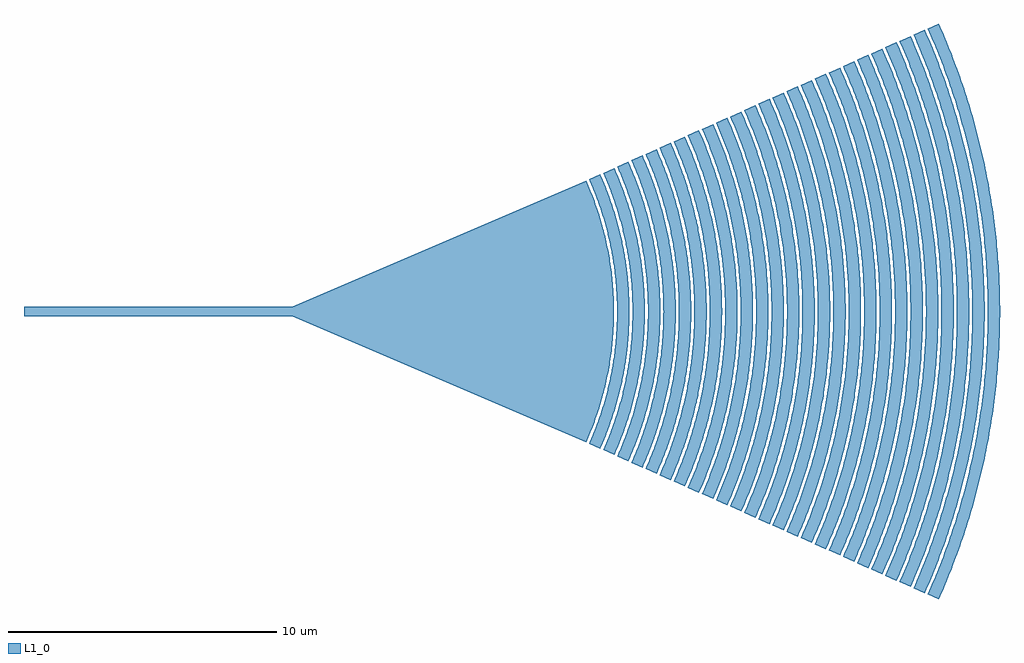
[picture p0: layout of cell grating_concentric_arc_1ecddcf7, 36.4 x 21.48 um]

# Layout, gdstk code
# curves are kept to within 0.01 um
import gdstk
lib = gdstk.Library(unit=1e-6, precision=2e-09)
def R(c, l, rs):  # rectangles x0, y0, x1, y1
    for r in rs: c.add(gdstk.rectangle(r[:2], r[2:], *l))
def P(c, l, *ps):  # polygons
    for p in ps: c.add(gdstk.Polygon(p, *l))
L1_0 = (1, 0)

straight_3aa2beef = lib.new_cell('straight_3aa2beef')
R(straight_3aa2beef, L1_0, [(0,-0.174,10,0.174)])

ring_0e3df5d4_transform_ = lib.new_cell('ring_0e3df5d4_transform_c7663540')
P(ring_0e3df5d4_transform_, L1_0, [(11.074,-4.93),(11.342,-4.278),(11.484,-3.88),(11.652,-3.342),(11.794,-2.796),(11.912,-2.244),(12.004,-1.686),(12.076,-1.056),(12.112,-0.494),(12.12,0.212),(12.082,0.986),(12.004,1.686),(11.912,2.244),(11.762,2.932),(11.592,3.544),(11.342,4.278),(11.074,4.93),(11.488,5.116),(11.818,4.302),(12.048,3.606),(12.22,2.972),(12.372,2.256),(12.474,1.606),(12.546,0.878),(12.576,0.146),(12.566,-0.512),(12.5,-1.388),(12.372,-2.256),(12.184,-3.114),(11.938,-3.956),(11.688,-4.644),(11.488,-5.116)])

ring_3096addb_transform_ = lib.new_cell('ring_3096addb_transform_8336e9fa')
P(ring_3096addb_transform_, L1_0, [(11.6,-5.164),(11.828,-4.62),(12.03,-4.064),(12.206,-3.5),(12.372,-2.856),(12.492,-2.278),(12.594,-1.62),(12.656,-1.034),(12.69,-0.444),(12.696,0.222),(12.656,1.034),(12.564,1.84),(12.45,2.496),(12.284,3.214),(12.076,3.924),(11.828,4.62),(11.6,5.164),(12.014,5.35),(12.306,4.642),(12.532,3.992),(12.762,3.182),(12.91,2.51),(13.024,1.83),(13.12,0.918),(13.152,0.076),(13.138,-0.612),(13.054,-1.602),(12.896,-2.584),(12.664,-3.552),(12.436,-4.282),(12.166,-4.998),(12.014,-5.35)])

ring_af717f17_transform_ = lib.new_cell('ring_af717f17_transform_52422061')
P(ring_af717f17_transform_, L1_0, [(12.126,-5.398),(12.336,-4.9),(12.55,-4.322),(12.738,-3.732),(12.916,-3.06),(13.03,-2.532),(13.144,-1.848),(13.23,-1.08),(13.266,-0.464),(13.272,0.232),(13.23,1.08),(13.144,1.848),(13.03,2.532),(12.86,3.286),(12.648,4.028),(12.392,4.756),(12.126,5.398),(12.54,5.584),(12.788,4.994),(13.056,4.242),(13.26,3.554),(13.476,2.62),(13.606,1.832),(13.676,1.196),(13.72,0.48),(13.72,-0.48),(13.644,-1.514),(13.52,-2.384),(13.34,-3.244),(13.056,-4.242),(12.788,-4.994),(12.54,-5.584)])

ring_c30ad2dc_transform_ = lib.new_cell('ring_c30ad2dc_transform_f7c03e48')
P(ring_c30ad2dc_transform_, L1_0, [(12.652,-5.632),(12.93,-4.964),(13.172,-4.28),(13.378,-3.584),(13.494,-3.116),(13.61,-2.564),(13.726,-1.848),(13.804,-1.126),(13.844,-0.402),(13.844,0.402),(13.804,1.126),(13.726,1.848),(13.61,2.564),(13.438,3.35),(13.244,4.05),(12.93,4.964),(12.652,5.632),(13.068,5.818),(13.384,5.048),(13.63,4.34),(13.858,3.542),(14.072,2.566),(14.198,1.744),(14.28,0.832),(14.304,0.084),(14.292,-0.582),(14.226,-1.496),(14.072,-2.566),(13.858,-3.542),(13.63,-4.34),(13.384,-5.048),(13.068,-5.818)])

ring_f485fd08_transform_ = lib.new_cell('ring_f485fd08_transform_30dd1cbb')
P(ring_f485fd08_transform_, L1_0, [(13.178,-5.868),(13.406,-5.326),(13.64,-4.696),(13.89,-3.896),(14.074,-3.164),(14.206,-2.504),(14.318,-1.758),(14.378,-1.174),(14.422,-0.336),(14.422,0.336),(14.378,1.174),(14.296,1.924),(14.144,2.834),(13.976,3.572),(13.77,4.298),(13.556,4.934),(13.178,5.868),(13.594,6.052),(13.892,5.332),(14.152,4.598),(14.438,3.6),(14.59,2.924),(14.758,1.9),(14.838,1.124),(14.878,0.26),(14.868,-0.606),(14.798,-1.556),(14.654,-2.584),(14.438,-3.6),(14.152,-4.598),(13.892,-5.332),(13.594,-6.052)])

ring_0ec3f95a_transform_ = lib.new_cell('ring_0ec3f95a_transform_f72324aa')
P(ring_0ec3f95a_transform_, L1_0, [(13.704,-6.102),(13.974,-5.458),(14.24,-4.718),(14.444,-4.05),(14.636,-3.29),(14.788,-2.518),(14.89,-1.828),(14.952,-1.22),(14.992,-0.524),(14.996,0.35),(14.952,1.22),(14.89,1.828),(14.726,2.862),(14.556,3.63),(14.32,4.47),(14.036,5.294),(13.704,6.102),(14.12,6.286),(14.364,5.706),(14.7,4.776),(14.952,3.914),(15.172,2.95),(15.318,2.062),(15.412,1.168),(15.454,0.27),(15.446,-0.54),(15.412,-1.168),(15.362,-1.704),(15.236,-2.596),(15.018,-3.652),(14.754,-4.604),(14.524,-5.286),(14.12,-6.286)])

ring_2e4c9e64_transform_ = lib.new_cell('ring_2e4c9e64_transform_eed4b715')
P(ring_2e4c9e64_transform_, L1_0, [(14.23,-6.336),(14.51,-5.666),(14.758,-4.986),(14.974,-4.294),(15.178,-3.504),(15.308,-2.884),(15.45,-1.988),(15.526,-1.268),(15.568,-0.544),(15.568,0.544),(15.526,1.268),(15.426,2.168),(15.274,3.062),(15.07,3.944),(14.842,4.728),(14.574,5.498),(14.23,6.336),(14.646,6.52),(15,5.658),(15.304,4.776),(15.556,3.878),(15.772,2.876),(15.924,1.862),(15.986,1.212),(16.028,0.374),(16.022,-0.56),(15.954,-1.582),(15.82,-2.6),(15.6,-3.698),(15.304,-4.776),(15,-5.658),(14.646,-6.52)])

ring_a2105091_transform_ = lib.new_cell('ring_a2105091_transform_3da0152e')
P(ring_a2105091_transform_, L1_0, [(14.756,-6.57),(15.012,-5.964),(15.304,-5.17),(15.578,-4.272),(15.76,-3.542),(15.924,-2.712),(16.044,-1.876),(16.114,-1.126),(16.146,-0.47),(16.146,0.47),(16.1,1.314),(15.996,2.248),(15.838,3.174),(15.65,3.998),(15.42,4.812),(15.114,5.7),(14.756,6.57),(15.172,6.754),(15.538,5.862),(15.854,4.948),(16.09,4.112),(16.284,3.264),(16.446,2.312),(16.552,1.352),(16.598,0.58),(16.598,-0.58),(16.56,-1.254),(16.496,-1.928),(16.356,-2.884),(16.138,-3.924),(15.854,-4.948),(15.538,-5.862),(15.172,-6.754)])

ring_15cf9f88_transform_ = lib.new_cell('ring_15cf9f88_transform_428bbb6d')
P(ring_15cf9f88_transform_, L1_0, [(15.282,-6.804),(15.618,-5.994),(15.88,-5.262),(16.108,-4.518),(16.322,-3.668),(16.458,-3),(16.58,-2.232),(16.674,-1.362),(16.722,-0.486),(16.722,0.486),(16.674,1.362),(16.58,2.232),(16.422,3.192),(16.184,4.236),(15.94,5.076),(15.618,5.994),(15.282,6.804),(15.698,6.99),(16.078,6.064),(16.402,5.12),(16.624,4.35),(16.868,3.278),(17.03,2.292),(17.142,1.198),(17.182,0.2),(17.17,-0.7),(17.09,-1.796),(16.94,-2.886),(16.766,-3.768),(16.624,-4.35),(16.462,-4.928),(16.28,-5.5),(16.078,-6.064),(15.698,-6.99)])

ring_862314dd_transform_ = lib.new_cell('ring_862314dd_transform_1f469de6')
P(ring_862314dd_transform_, L1_0, [(15.808,-7.038),(16.156,-6.202),(16.426,-5.444),(16.662,-4.672),(16.862,-3.892),(17.042,-3.004),(17.176,-2.108),(17.256,-1.308),(17.298,-0.504),(17.298,0.504),(17.248,1.408),(17.122,2.508),(16.968,3.4),(16.766,4.284),(16.458,5.348),(16.156,6.202),(15.808,7.038),(16.224,7.224),(16.58,6.364),(16.922,5.39),(17.128,4.696),(17.392,3.592),(17.572,2.574),(17.692,1.548),(17.752,0.516),(17.752,-0.516),(17.73,-1.032),(17.662,-1.856),(17.508,-2.982),(17.304,-3.994),(17.014,-5.094),(16.688,-6.074),(16.428,-6.748),(16.224,-7.224)])

ring_0f882f6c_transform_ = lib.new_cell('ring_0f882f6c_transform_ae3995a6')
P(ring_0f882f6c_transform_, L1_0, [(16.334,-7.272),(16.656,-6.504),(17.006,-5.526),(17.272,-4.628),(17.446,-3.92),(17.644,-2.9),(17.748,-2.18),(17.83,-1.352),(17.876,-0.416),(17.87,0.624),(17.804,1.662),(17.692,2.592),(17.512,3.616),(17.272,4.628),(17.006,5.526),(16.656,6.504),(16.334,7.272),(16.75,7.458),(17.156,6.472),(17.438,5.666),(17.738,4.642),(17.978,3.604),(18.142,2.658),(18.266,1.598),(18.328,0.534),(18.328,-0.534),(18.266,-1.598),(18.186,-2.34),(18.11,-2.868),(17.978,-3.604),(17.866,-4.124),(17.596,-5.156),(17.404,-5.768),(17.156,-6.472),(16.75,-7.458)])

ring_fc5796af_transform_ = lib.new_cell('ring_fc5796af_transform_ab2534e7')
P(ring_fc5796af_transform_, L1_0, [(16.86,-7.506),(17.192,-6.714),(17.554,-5.704),(17.8,-4.88),(18.008,-4.048),(18.158,-3.31),(18.306,-2.356),(18.396,-1.502),(18.452,-0.43),(18.446,0.644),(18.396,1.502),(18.262,2.674),(18.076,3.732),(17.828,4.776),(17.554,5.704),(17.192,6.714),(16.86,7.506),(17.276,7.692),(17.616,6.88),(18.02,5.74),(18.35,4.574),(18.564,3.608),(18.712,2.74),(18.84,1.648),(18.904,0.55),(18.904,-0.55),(18.84,-1.648),(18.696,-2.85),(18.498,-3.932),(18.35,-4.574),(18.148,-5.318),(17.952,-5.948),(17.732,-6.572),(17.276,-7.692)])

ring_e564c81f_transform_ = lib.new_cell('ring_e564c81f_transform_320dc97c')
P(ring_e564c81f_transform_, L1_0, [(17.386,-7.742),(17.728,-6.924),(18.032,-6.092),(18.326,-5.14),(18.57,-4.174),(18.744,-3.304),(18.904,-2.21),(18.994,-1.218),(19.028,-0.442),(19.028,0.442),(18.97,1.548),(18.848,2.648),(18.662,3.74),(18.44,4.712),(18.168,5.67),(17.808,6.718),(17.386,7.742),(17.802,7.926),(18.026,7.404),(18.272,6.772),(18.636,5.698),(18.936,4.604),(19.15,3.606),(19.328,2.488),(19.432,1.472),(19.482,0.454),(19.476,-0.68),(19.448,-1.246),(19.392,-1.924),(19.248,-3.048),(19.15,-3.606),(18.988,-4.384),(18.794,-5.154),(18.636,-5.698),(18.272,-6.772),(18.026,-7.404),(17.802,-7.926)])

ring_f2cb52e4_transform_ = lib.new_cell('ring_f2cb52e4_transform_30e212c9')
P(ring_f2cb52e4_transform_, L1_0, [(17.912,-7.976),(18.306,-7.026),(18.648,-6.06),(18.91,-5.186),(19.156,-4.188),(19.33,-3.292),(19.476,-2.276),(19.576,-1.14),(19.606,-0.342),(19.592,0.798),(19.524,1.822),(19.402,2.842),(19.204,3.966),(18.97,4.964),(18.684,5.95),(18.306,7.026),(17.912,7.976),(18.328,8.16),(18.772,7.08),(19.152,5.978),(19.41,5.08),(19.672,3.942),(19.852,2.908),(19.976,1.864),(20.042,0.934),(20.062,0.234),(20.058,-0.466),(20.036,-1.05),(19.976,-1.864),(19.834,-3.024),(19.738,-3.598),(19.6,-4.286),(19.41,-5.08),(19.254,-5.642),(19.008,-6.422),(18.812,-6.972),(18.646,-7.408),(18.328,-8.16)])

ring_9ebaa79a_transform_ = lib.new_cell('ring_9ebaa79a_transform_13231c8f')
P(ring_9ebaa79a_transform_, L1_0, [(18.44,-8.21),(18.844,-7.234),(19.196,-6.238),(19.466,-5.338),(19.744,-4.196),(19.898,-3.39),(20.048,-2.344),(20.15,-1.174),(20.182,-0.352),(20.168,0.822),(20.108,1.76),(19.972,2.926),(19.768,4.082),(19.466,5.338),(19.196,6.238),(18.844,7.234),(18.44,8.21),(18.854,8.394),(19.268,7.396),(19.666,6.264),(19.996,5.11),(20.26,3.938),(20.404,3.11),(20.55,1.918),(20.622,0.84),(20.638,0.24),(20.634,-0.48),(20.604,-1.2),(20.55,-1.918),(20.404,-3.11),(20.188,-4.292),(20.026,-4.992),(19.84,-5.688),(19.592,-6.492),(19.394,-7.058),(19.136,-7.732),(18.854,-8.394)])

ring_020d9f45_transform_ = lib.new_cell('ring_020d9f45_transform_3ec53960')
P(ring_020d9f45_transform_, L1_0, [(18.966,-8.444),(19.294,-7.664),(19.63,-6.758),(19.956,-5.722),(20.228,-4.67),(20.424,-3.724),(20.606,-2.53),(20.692,-1.69),(20.752,-0.604),(20.752,0.604),(20.682,1.81),(20.558,2.89),(20.356,4.08),(20.114,5.14),(19.818,6.186),(19.63,6.758),(19.382,7.44),(18.966,8.444),(19.38,8.628),(19.85,7.488),(20.252,6.32),(20.524,5.372),(20.802,4.17),(20.914,3.562),(21.026,2.83),(21.134,1.848),(21.206,0.618),(21.206,-0.618),(21.172,-1.356),(21.112,-2.094),(20.954,-3.318),(20.726,-4.532),(20.524,-5.372),(20.392,-5.848),(20.176,-6.556),(19.936,-7.256),(19.624,-8.062),(19.38,-8.628)])

ring_46a7a8de_transform_ = lib.new_cell('ring_46a7a8de_transform_c64d346f')
P(ring_46a7a8de_transform_, L1_0, [(19.492,-8.678),(19.874,-7.762),(20.214,-6.828),(20.544,-5.762),(20.79,-4.8),(20.99,-3.828),(21.162,-2.724),(21.266,-1.736),(21.33,-0.496),(21.336,0.124),(21.318,0.868),(21.244,1.984),(21.162,2.724),(21.074,3.338),(20.896,4.314),(20.672,5.282),(20.33,6.476),(20.092,7.18),(19.874,7.762),(19.492,8.678),(19.906,8.864),(20.344,7.81),(20.604,7.094),(20.802,6.492),(21.144,5.272),(21.366,4.282),(21.482,3.658),(21.596,2.908),(21.708,1.9),(21.778,0.76),(21.788,-0.38),(21.768,-1.014),(21.708,-1.9),(21.644,-2.53),(21.542,-3.284),(21.438,-3.908),(21.288,-4.654),(20.982,-5.884),(20.802,-6.492),(20.52,-7.334),(20.252,-8.046),(19.906,-8.864)])

ring_d933143f_transform_ = lib.new_cell('ring_d933143f_transform_2f55192f')
P(ring_d933143f_transform_, L1_0, [(20.018,-8.912),(20.364,-8.09),(20.76,-7.014),(21.064,-6.04),(21.35,-4.93),(21.51,-4.18),(21.622,-3.554),(21.764,-2.544),(21.868,-1.402),(21.906,-0.51),(21.912,0.128),(21.894,0.892),(21.818,2.036),(21.662,3.302),(21.46,4.43),(21.166,5.672),(20.84,6.772),(20.502,7.734),(20.018,8.912),(20.432,9.098),(20.928,7.894),(21.312,6.788),(21.638,5.664),(21.794,5.032),(21.93,4.396),(22.112,3.37),(22.216,2.596),(22.282,1.95),(22.358,0.65),(22.364,-0.39),(22.336,-1.17),(22.282,-1.95),(22.216,-2.596),(22.112,-3.37),(21.878,-4.65),(21.734,-5.284),(21.536,-6.04),(21.312,-6.788),(21.018,-7.65),(20.738,-8.378),(20.432,-9.098)])

ring_65691db4_transform_ = lib.new_cell('ring_65691db4_transform_7aa7a8c2')
P(ring_65691db4_transform_, L1_0, [(20.544,-9.146),(20.994,-8.058),(21.388,-6.95),(21.688,-5.946),(21.912,-5.058),(22.124,-4.034),(22.304,-2.87),(22.424,-1.7),(22.482,-0.524),(22.482,0.524),(22.414,1.83),(22.336,2.61),(22.25,3.26),(22.05,4.42),(21.756,5.694),(21.388,6.95),(20.994,8.058),(20.544,9.146),(20.958,9.332),(21.222,8.718),(21.466,8.098),(21.82,7.09),(22.054,6.324),(22.228,5.68),(22.496,4.508),(22.72,3.192),(22.856,2),(22.924,0.934),(22.942,0.134),(22.936,-0.534),(22.904,-1.334),(22.856,-2),(22.788,-2.664),(22.7,-3.326),(22.594,-3.984),(22.442,-4.77),(22.228,-5.68),(22.09,-6.196),(21.82,-7.09),(21.604,-7.722),(21.322,-8.47),(20.958,-9.332)])

ring_5c558ea0_transform_ = lib.new_cell('ring_5c558ea0_transform_211b614f')
P(ring_5c558ea0_transform_, L1_0, [(21.07,-9.38),(21.484,-8.39),(21.894,-7.254),(22.278,-5.97),(22.532,-4.926),(22.714,-4.004),(22.908,-2.678),(23.008,-1.608),(23.058,-0.536),(23.05,0.804),(23.008,1.608),(22.952,2.278),(22.876,2.944),(22.78,3.608),(22.588,4.664),(22.278,5.97),(21.976,7),(21.58,8.14),(21.07,9.38),(21.486,9.566),(21.956,8.428),(22.41,7.138),(22.752,5.954),(22.916,5.29),(23.06,4.622),(23.162,4.084),(23.29,3.274),(23.39,2.458),(23.452,1.778),(23.512,0.548),(23.512,-0.548),(23.452,-1.778),(23.39,-2.458),(23.29,-3.274),(23.162,-4.084),(23.06,-4.622),(22.916,-5.29),(22.682,-6.22),(22.41,-7.138),(22.146,-7.916),(21.806,-8.81),(21.486,-9.566)])

ring_f596f329_transform_ = lib.new_cell('ring_f596f329_transform_457ef42e')
P(ring_f596f329_transform_, L1_0, [(21.596,-9.616),(22.07,-8.472),(22.44,-7.436),(22.762,-6.384),(23.034,-5.318),(23.152,-4.78),(23.304,-3.97),(23.464,-2.88),(23.582,-1.65),(23.634,-0.55),(23.626,0.826),(23.538,2.198),(23.37,3.562),(23.152,4.78),(22.87,5.986),(22.686,6.648),(22.482,7.306),(22.07,8.472),(21.596,9.616),(22.012,9.8),(22.444,8.766),(22.916,7.446),(23.31,6.1),(23.508,5.284),(23.652,4.598),(23.776,3.908),(23.898,3.076),(24.026,1.82),(24.088,0.56),(24.088,-0.56),(24.054,-1.4),(23.99,-2.24),(23.932,-2.798),(23.82,-3.63),(23.704,-4.322),(23.568,-5.01),(23.412,-5.692),(23.2,-6.506),(22.916,-7.446),(22.642,-8.24),(22.34,-9.026),(22.012,-9.8)])

ring_399742e3_transform_ = lib.new_cell('ring_399742e3_transform_d0af9545')
P(ring_399742e3_transform_, L1_0, [(22.122,-9.85),(22.608,-8.678),(22.942,-7.75),(23.316,-6.54),(23.626,-5.31),(23.872,-4.066),(24.036,-2.952),(24.098,-2.392),(24.166,-1.548),(24.212,-0.422),(24.216,0.14),(24.196,0.986),(24.098,2.392),(23.94,3.648),(23.716,4.896),(23.426,6.132),(23.074,7.348),(22.608,8.678),(22.122,9.85),(22.538,10.034),(23.032,8.842),(23.326,8.032),(23.55,7.35),(23.754,6.662),(23.938,5.968),(24.19,4.848),(24.41,3.576),(24.564,2.294),(24.62,1.578),(24.656,0.86),(24.67,0.144),(24.664,-0.574),(24.62,-1.578),(24.564,-2.294),(24.41,-3.576),(24.296,-4.284),(24.132,-5.13),(23.83,-6.386),(23.55,-7.35),(23.232,-8.302),(22.928,-9.108),(22.538,-10.034)])

ring_414d8c40_transform_ = lib.new_cell('ring_414d8c40_transform_966e98a4')
P(ring_414d8c40_transform_, L1_0, [(22.648,-10.084),(23.04,-9.154),(23.346,-8.344),(23.534,-7.798),(23.832,-6.834),(24.056,-5.998),(24.22,-5.296),(24.464,-4.02),(24.624,-2.878),(24.732,-1.73),(24.788,-0.432),(24.776,0.866),(24.698,2.16),(24.624,2.878),(24.53,3.594),(24.28,5.014),(23.984,6.278),(23.832,6.834),(23.534,7.798),(23.346,8.344),(23.04,9.154),(22.648,10.084),(23.064,10.268),(23.57,9.048),(24.056,7.662),(24.424,6.392),(24.6,5.68),(24.754,4.962),(24.98,3.658),(25.076,2.93),(25.15,2.2),(25.204,1.468),(25.236,0.734),(25.24,-0.588),(25.204,-1.468),(25.15,-2.2),(25.076,-2.93),(24.98,-3.658),(24.888,-4.24),(24.724,-5.106),(24.532,-5.964),(24.348,-6.676),(24.056,-7.662),(23.774,-8.496),(23.408,-9.458),(23.064,-10.268)])

ring_4f13ac85_transform_ = lib.new_cell('ring_4f13ac85_transform_a0e9c0cf')
P(ring_4f13ac85_transform_, L1_0, [(23.174,-10.318),(23.63,-9.228),(23.888,-8.538),(24.172,-7.698),(24.504,-6.566),(24.814,-5.274),(25.056,-3.968),(25.196,-2.944),(25.316,-1.622),(25.364,-0.442),(25.352,0.886),(25.316,1.622),(25.258,2.358),(25.1,3.676),(25.008,4.26),(24.844,5.13),(24.65,5.994),(24.504,6.566),(24.172,7.698),(23.888,8.538),(23.63,9.228),(23.174,10.318),(23.59,10.502),(23.886,9.812),(24.16,9.114),(24.416,8.406),(24.65,7.694),(25.018,6.392),(25.194,5.662),(25.348,4.928),(25.456,4.336),(25.592,3.444),(25.724,2.25),(25.77,1.652),(25.812,0.752),(25.816,-0.6),(25.77,-1.652),(25.724,-2.25),(25.648,-2.998),(25.55,-3.742),(25.404,-4.632),(25.258,-5.368),(24.942,-6.684),(24.65,-7.694),(24.316,-8.69),(23.942,-9.674),(23.59,-10.502)])

ring_5b22128a_transform_ = lib.new_cell('ring_5b22128a_transform_16160f3a')
P(ring_5b22128a_transform_, L1_0, [(23.7,-10.552),(24.22,-9.298),(24.674,-8.016),(24.98,-7.006),(25.312,-5.688),(25.55,-4.506),(25.67,-3.76),(25.768,-3.012),(25.87,-1.96),(25.916,-1.208),(25.94,-0.452),(25.94,0.452),(25.916,1.208),(25.87,1.96),(25.802,2.712),(25.648,3.91),(25.408,5.246),(25.244,5.982),(25.06,6.714),(24.72,7.874),(24.43,8.732),(24.22,9.298),(23.7,10.552),(24.116,10.738),(24.418,10.032),(24.7,9.316),(24.91,8.74),(25.2,7.864),(25.576,6.536),(25.884,5.188),(26.024,4.432),(26.142,3.674),(26.298,2.3),(26.382,0.922),(26.394,-0.46),(26.334,-1.842),(26.254,-2.76),(26.142,-3.674),(26.024,-4.432),(25.884,-5.188),(25.722,-5.938),(25.538,-6.684),(25.2,-7.864),(24.91,-8.74),(24.59,-9.604),(24.116,-10.738)])

grating_concentric_arc_1 = lib.new_cell('grating_concentric_arc_1ecddcf7')
P(grating_concentric_arc_1, L1_0, [(0,0.174),(0,-0.174),(10.962,-4.882),(11.006,-4.786),(11.24,-4.202),(11.476,-3.508),(11.644,-2.902),(11.78,-2.29),(11.868,-1.774),(11.954,-1.046),(11.99,-0.524),(12,0.104),(11.99,0.524),(11.934,1.254),(11.836,1.98),(11.738,2.496),(11.564,3.206),(11.38,3.808),(11.126,4.496),(10.962,4.882)])
grating_concentric_arc_1.add(gdstk.Reference(straight_3aa2beef, (-10,0)))
grating_concentric_arc_1.add(gdstk.Reference(ring_0e3df5d4_transform_, (0,0)))
grating_concentric_arc_1.add(gdstk.Reference(ring_3096addb_transform_, (0,0)))
grating_concentric_arc_1.add(gdstk.Reference(ring_af717f17_transform_, (0,0)))
grating_concentric_arc_1.add(gdstk.Reference(ring_c30ad2dc_transform_, (0,0)))
grating_concentric_arc_1.add(gdstk.Reference(ring_f485fd08_transform_, (0,0)))
grating_concentric_arc_1.add(gdstk.Reference(ring_0ec3f95a_transform_, (0,0)))
grating_concentric_arc_1.add(gdstk.Reference(ring_2e4c9e64_transform_, (0,0)))
grating_concentric_arc_1.add(gdstk.Reference(ring_a2105091_transform_, (0,0)))
grating_concentric_arc_1.add(gdstk.Reference(ring_15cf9f88_transform_, (0,0)))
grating_concentric_arc_1.add(gdstk.Reference(ring_862314dd_transform_, (0,0)))
grating_concentric_arc_1.add(gdstk.Reference(ring_0f882f6c_transform_, (0,0)))
grating_concentric_arc_1.add(gdstk.Reference(ring_fc5796af_transform_, (0,0)))
grating_concentric_arc_1.add(gdstk.Reference(ring_e564c81f_transform_, (0,0)))
grating_concentric_arc_1.add(gdstk.Reference(ring_f2cb52e4_transform_, (0,0)))
grating_concentric_arc_1.add(gdstk.Reference(ring_9ebaa79a_transform_, (0,0)))
grating_concentric_arc_1.add(gdstk.Reference(ring_020d9f45_transform_, (0,0)))
grating_concentric_arc_1.add(gdstk.Reference(ring_46a7a8de_transform_, (0,0)))
grating_concentric_arc_1.add(gdstk.Reference(ring_d933143f_transform_, (0,0)))
grating_concentric_arc_1.add(gdstk.Reference(ring_65691db4_transform_, (0,0)))
grating_concentric_arc_1.add(gdstk.Reference(ring_5c558ea0_transform_, (0,0)))
grating_concentric_arc_1.add(gdstk.Reference(ring_f596f329_transform_, (0,0)))
grating_concentric_arc_1.add(gdstk.Reference(ring_399742e3_transform_, (0,0)))
grating_concentric_arc_1.add(gdstk.Reference(ring_414d8c40_transform_, (0,0)))
grating_concentric_arc_1.add(gdstk.Reference(ring_4f13ac85_transform_, (0,0)))
grating_concentric_arc_1.add(gdstk.Reference(ring_5b22128a_transform_, (0,0)))

lib.write_gds('grating_concentric_arc_1ecddcf7.gds')
